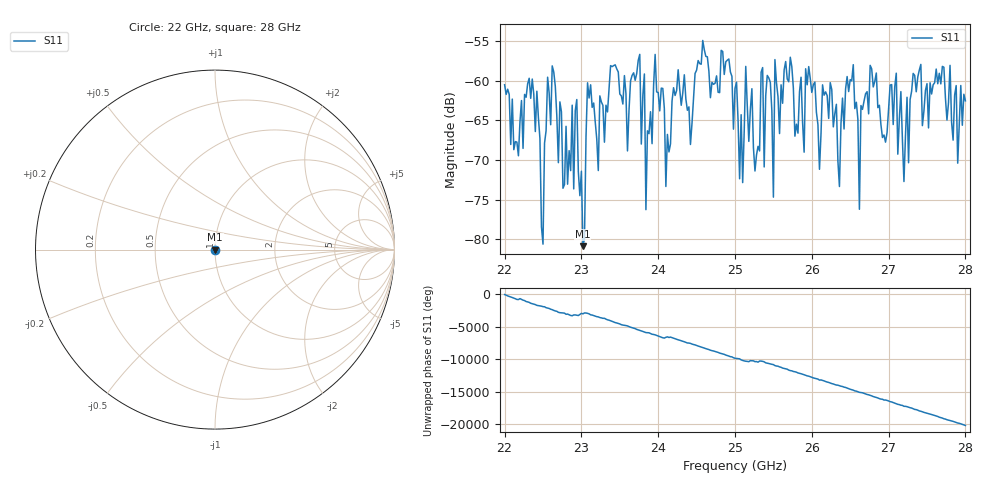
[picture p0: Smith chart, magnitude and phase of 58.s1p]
#  HZ  S  RI  R  50.00
! Rohde & Schwarz ZVA40 4Ports - Version 3.90 - 1145.1110k42 SN: 100403
! Date: 2023-10-04 06:35:13
! Measurement: S12
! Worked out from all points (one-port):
!   301 points, 22 GHz to 28 GHz, reference 50 ohm
!   lowest |S11| = -80.9 dB at 23.02 GHz (marker M1), VSWR 1.00, Z = 50 - j0.00364 ohm
!   |S11| at or under -10 dB: start of sweep to end of sweep
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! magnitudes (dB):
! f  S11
! 22 GHz  -60.5
! 22.42 GHz  -61.3
! 22.5 GHz  -80.6
! 22.62 GHz  -58.1
! 22.76 GHz  -73.6
! 22.94 GHz  -62.4
! 23.02 GHz  -80.9
! 23.08 GHz  -60.2
! 23.5 GHz  -61.7
! 23.82 GHz  -59.1
! 23.84 GHz  -76.3
! 23.96 GHz  -56.7
! 24.1 GHz  -73.3
! 24.26 GHz  -58.6
! 25 GHz  -61.0
! 25.1 GHz  -72.8
! 25.14 GHz  -58.2
! 25.26 GHz  -71.4
! 25.44 GHz  -59.6
! 25.5 GHz  -74.7
! 25.52 GHz  -57.3
! 25.76 GHz  -60.9
! 26.36 GHz  -73.3
! 26.5 GHz  -59.9
! 26.62 GHz  -76.2
! 26.76 GHz  -58.0
! 27.26 GHz  -70.3
! 28 GHz  -62.5
